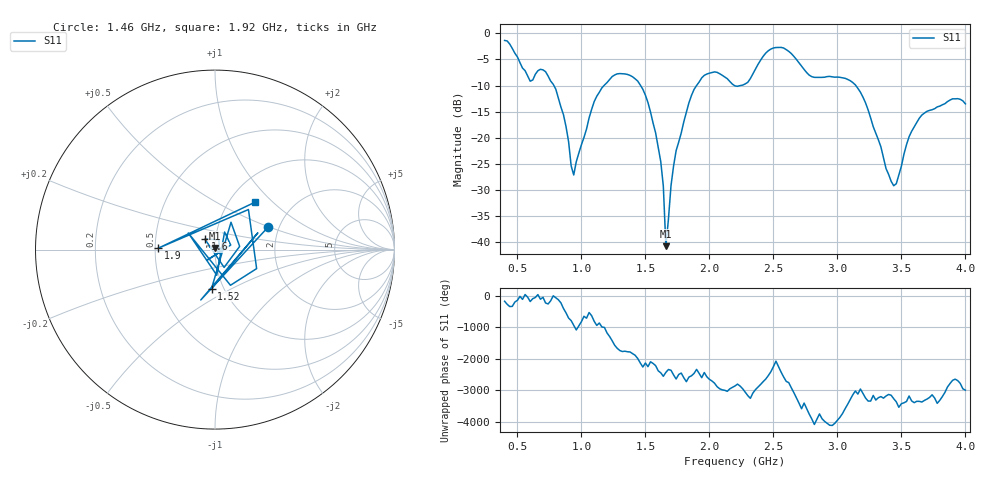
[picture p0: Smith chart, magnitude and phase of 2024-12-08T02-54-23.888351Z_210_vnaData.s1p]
!Created with skrf (http://scikit-rf.org).
# Hz S RI R 50.0
!freq ReS11 ImS11
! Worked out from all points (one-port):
!   181 points, 400 MHz to 4 GHz, reference 50 ohm
!   lowest |S11| = -40.7 dB at 1.66 GHz (marker M1), VSWR 1.02, Z = 50.1 + j0.919 ohm
!   |S11| at or under -10 dB: 785.4 MHz to 1.176 GHz (390.7 MHz wide, 39.8 % of centre); 1.463 GHz to 1.899 GHz (436.4 MHz wide, 26 % of centre); 3.144 GHz to end of sweep (the widest 3 of 4)
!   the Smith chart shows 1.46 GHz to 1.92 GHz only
!   S11 on the Smith chart (normalised r, x): 1.46 GHz: 1.75, +0.49; 1.52 GHz: 0.88, -0.40; 1.6 GHz: 0.89, +0.10; 1.9 GHz: 0.52, +0.01; 1.92 GHz: 1.30, +0.78
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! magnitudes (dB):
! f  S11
! 400 MHz  -1.4
! 600 MHz  -9.1
! 720 MHz  -7.3
! 860 MHz  -15.6
! 940 MHz  -27.1
! 1.1 GHz  -13.0
! 1.3 GHz  -7.7
! 1.46 GHz  -9.9
! 1.52 GHz  -13.2
! 1.6 GHz  -21.8
! 1.64 GHz  -29.2
! 1.66 GHz  -40.7
! 1.7 GHz  -29.1
! 1.76 GHz  -20.8
! 1.9 GHz  -10.0
! 1.92 GHz  -9.3
! 2.04 GHz  -7.4
! 2.2 GHz  -10.1
! 2.3 GHz  -9.4
! 2.48 GHz  -3.0
! 2.66 GHz  -4.4
! 2.8 GHz  -8.3
! 3.1 GHz  -9.1
! 3.22 GHz  -13.3
! 3.44 GHz  -29.1
! 3.56 GHz  -19.8
! 3.7 GHz  -14.9
! 4 GHz  -13.5
